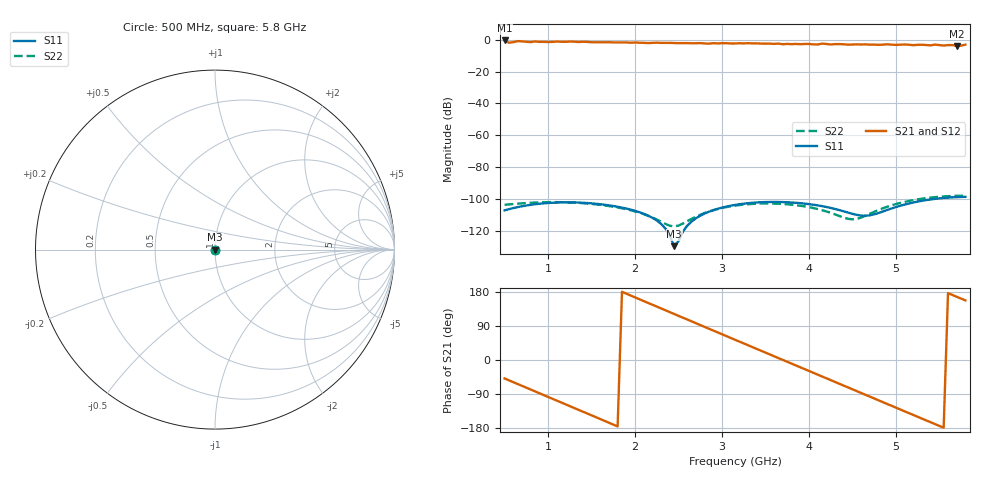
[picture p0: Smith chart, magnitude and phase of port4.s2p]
# GHZ S RI R 50
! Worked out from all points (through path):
!   107 points, 500 MHz to 5.8 GHz, reference 50 ohm
!   highest |S21| = -0.45 dB at 500 MHz (marker M1); lowest = -3.9 dB at 5.7 GHz (marker M2)
!   group delay of S21, straight-line fit = 269 ps
!   lowest |S11| = -129.8 dB at 2.45 GHz (marker M3), VSWR 1.00, Z = 50 - j3.18e-05 ohm
!   |S11| at or under -10 dB: start of sweep to end of sweep
!   |S22| runs from -117.4 to -98.1 dB; largest |S21 - S12| = 2e-15
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0.5  1.11e-06 4.18e-06  0.626 -0.7132  0.626 -0.7132  4.39e-06 4.78e-06
0.55  1.74e-06 4.39e-06  0.4792 -0.6498  0.4792 -0.6498  4.61e-06 4.83e-06
0.65  3.11e-06 4.51e-06  0.406 -0.8083  0.406 -0.8083  5.12e-06 4.83e-06
0.85  5.8e-06 3.45e-06  0.1108 -0.8776  0.1108 -0.8776  6.23e-06 4.38e-06
1.1  7.63e-06 1.51e-07  -0.2579 -0.8367  -0.2579 -0.8367  7.3e-06 2.9e-06
1.4  6.2e-06 -4.21e-06  -0.6255 -0.5973  -0.6255 -0.5973  7.28e-06 3.91e-07
1.7  2.1e-06 -5.86e-06  -0.8086 -0.2089  -0.8086 -0.2089  5.65e-06 -1.75e-06
1.9  -4.04e-07 -4.92e-06  -0.8205 0.0716  -0.8205 0.0716  3.96e-06 -2.52e-06
2.3  -1.2e-06 -1.1e-06  -0.5729 0.5517  -0.5729 0.5517  1.29e-07 -1.9e-06
2.45  -6.32e-08 -3.18e-07  -0.4113 0.6716  -0.4113 0.6716  -1.07e-06 -8.28e-07
2.75  2.65e-06 -1.27e-06  -0.0316 0.7831  -0.0316 0.7831  -2.05e-06 2.39e-06
3  3.4e-06 -4.04e-06  0.2914 0.7221  0.2914 0.7221  -8.13e-07 5.07e-06
3.15  2.7e-06 -5.83e-06  0.4537 0.6125  0.4537 0.6125  7.14e-07 6.05e-06
3.4  -5.56e-08 -7.66e-06  0.6695 0.375  0.6695 0.375  3.68e-06 5.98e-06
3.65  -3.41e-06 -7.17e-06  0.7537 0.0667  0.7537 0.0667  5.79e-06 3.93e-06
4.05  -5.79e-06 -3.01e-06  0.5952 -0.3962  0.5952 -0.3962  5.08e-06 -7.25e-07
4.3  -4.7e-06 -9.58e-07  0.3878 -0.6172  0.3878 -0.6172  2.2e-06 -2.38e-06
4.55  -2.99e-06 -9.09e-07  0.0989 -0.7099  0.0989 -0.7099  -1.45e-06 -1.83e-06
4.95  -3.15e-06 -3.83e-06  -0.3592 -0.6028  -0.3592 -0.6028  -4.91e-06 3.81e-06
5.45  -9.18e-06 -3.82e-06  -0.6896 -0.1331  -0.6896 -0.1331  8.2e-07 1.12e-05
5.7  -1.13e-05 -5.75e-07  -0.6228 0.1455  -0.6228 0.1455  6.14e-06 1.07e-05
5.8  -1.15e-05 1.01e-06  -0.6459 0.2711  -0.6459 0.2711  8.01e-06 9.55e-06
